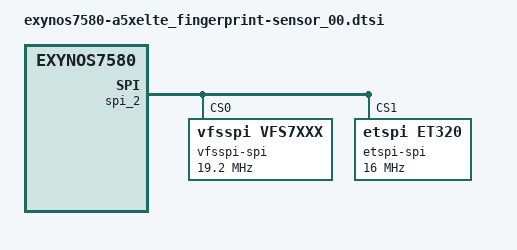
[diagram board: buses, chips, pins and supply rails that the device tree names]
/*
 * Copyright (c) 2012-2013, The Linux Foundation. All rights reserved.
 *
 * This program is free software; you can redistribute it and/or modify
 * it under the terms of the GNU General Public License version 2 and
 * only version 2 as published by the Free Software Foundation.
 *
 * This program is distributed in the hope that it will be useful,
 * but WITHOUT ANY WARRANTY; without even the implied warranty of
 * MERCHANTABILITY or FITNESS FOR A PARTICULAR PURPOSE.  See the
 * GNU General Public License for more details.
 */

/ {
	pinctrl@139B0000 {
		btp_irq: btp-irq {
			samsung,pins = "gpa1-4";
			samsung,pin-function = <0xf>;
			samsung,pin-pud = <1>;
			samsung,pin-drv = <3>;
		};
		btp_irqsleep: btp-irqsleep {
			samsung,pins = "gpa1-4";
		    samsung,pin-function = <0>;
			samsung,pin-pud = <1>;
		};
		btp_irqidle: btp-irqidle {
			samsung,pins = "gpa1-4";
			samsung,pin-function = <0xf>;
			samsung,pin-pud = <1>;
		};
		btp_irq_etspi: btp-irq-etspi {
			samsung,pins = "gpa1-4";
			samsung,pin-function = <0xf>;
			samsung,pin-pud = <3>;
			samsung,pin-drv = <3>;
		};
		btp_irqsleep_etspi: btp-irqsleep-etspi {
			samsung,pins = "gpa1-4";
		    samsung,pin-function = <0>;
			samsung,pin-pud = <3>;
		};
		btp_irqidle_etspi: btp-irqidle-etspi {
			samsung,pins = "gpa1-4";
			samsung,pin-function = <0xf>;
			samsung,pin-pud = <3>;
		};
	};
	pinctrl@139C0000 {
		btp_reset: btp-reset {
			samsung,pins = "gpd1-1";
			samsung,pin-function = <1>;
			samsung,pin-pud = <0>;
			samsung,pin-drv = <0>;
		};
		btp_ldo: btp-ldo {
			samsung,pins = "gpd1-5";
			samsung,pin-function = <1>;
			samsung,pin-pud = <1>;
			samsung,pin-drv = <0>;
		};
		btp_check: btp-check {
			samsung,pins = "gpd1-4";
			samsung,pin-function = <0>;
			samsung,pin-pud = <0>;
			samsung,pin-drv = <3>;
		};
	};

	spi_2: spi@13930000 {
		status = "okay";
		secure-mode;
		/delete-property/ dma-mode;
		/delete-property/ dmas;
		/delete-property/ dma-names;
		spiclk-pindev-name = "138e0000.pinctrl";
		spiclk-pin-name = "gpc0-0";
		spi-clkoff-time = <1000>;
		#address-cells = <1>;
		#size-cells = <0>;
		pinctrl-names = "default";
		pinctrl-0 = <&spi2_bus &spi2_cs_func>;
		num-cs = <2>;

		vfsspi-spi@0 {
			compatible = "vfsspi,vfs7xxx";
			reg = <0>;
			spi-max-frequency = <19200000>;
			pinctrl-names = "default", "sleep", "idle";
			pinctrl-0 = <&btp_irq &btp_reset &btp_ldo &btp_check>;
			pinctrl-1 = <&btp_irqsleep>;
			pinctrl-2 = <&btp_irqidle>;

			gpio-controller;
			#gpio-cells = <2>;

			vfsspi-sleepPin = <&gpd1 1 0x00>;
			vfsspi-drdyPin = <&gpa1 4 0x00>;
			vfsspi-ldoPin = <&gpd1 5 0x00>;
			vfsspi-vendorPin = <&gpd1 4 0x00>;
			vfsspi-ldocontrol = <1>;
			controller-data {
				samsung,spi-feedback-delay = <0>;
				samsung,spi-chip-select-mode = <0>;
			};
		};

		etspi-spi@1 {
			compatible = "etspi,et320";
			reg = <1>;
			spi-max-frequency = <16000000>;
			pinctrl-names = "default";
			pinctrl-0 = <&btp_irq_etspi &btp_reset &btp_ldo>;
			pinctrl-1 = <&btp_irqsleep_etspi>;
			pinctrl-2 = <&btp_irqidle_etspi>;

			gpio-controller;
			#gpio-cells = <2>;

			etspi-sleepPin = <&gpd1 1 0x01>;
			etspi-drdyPin = <&gpa1 4 0x00>;
			etspi-ldoPin = <&gpd1 5 0x00>;
			etspi-ldocontrol = <1>;
			controller-data {
				samsung,spi-feedback-delay = <0>;
				samsung,spi-chip-select-mode = <0>;
			};
		};
	};
};
